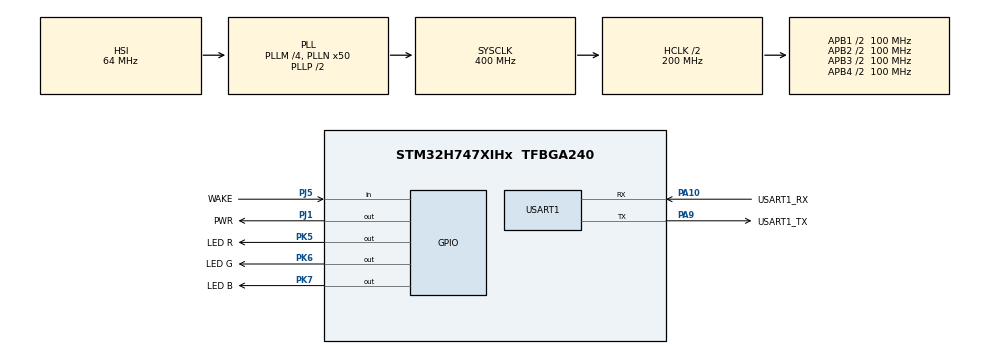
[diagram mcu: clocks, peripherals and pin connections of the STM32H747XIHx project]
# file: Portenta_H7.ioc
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CortexM4.IPs=BDMA,DMA,FATFS_M4\:I,FREERTOS_M4\:I,IWDG2\:I,MDMA,NVIC2\:I,RCC,USB_DEVICE_M4\:I,USB_HOST_M4\:I,WWDG2\:I,ADC1\:I,DCMI\:I,TIM3\:I,DEBUG,PDM2PCM_M4\:I,PWR,RESMGR_UTILITY,SYS_M4\:I,CORTEX_M4\:I,OPENAMP_M4\:I,VREFBUF,GPIO
CortexM7.IPs=BDMA\:I,DMA\:I,FATFS_M7\:I,FREERTOS_M7\:I,IWDG1\:I,MDMA\:I,NVIC1\:I,RCC\:I,USB_DEVICE_M7\:I,USB_HOST_M7\:I,WWDG1\:I,CORTEX_M7\:I,DEBUG\:I,PDM2PCM_M7\:I,PWR\:I,RESMGR_UTILITY\:I,SYS\:I,OPENAMP_M7\:I,VREFBUF\:I,GPIO\:I,RNG\:I,USART1\:I,SDMMC1\:I
CortexM7.Pins=PK5,PK6,PK7,PJ1,PJ5
Mcu.Family=STM32H7
Mcu.Name=STM32H747XIHx
Mcu.Package=TFBGA240
NVIC1.PriorityGroup=NVIC_PRIORITYGROUP_4
NVIC2.PriorityGroup=NVIC_PRIORITYGROUP_4
PA10.GPIO_Label=USART1_RX
PA10.Mode=Asynchronous
PA10.PinAttribute=CortexM7
PA10.Signal=USART1_RX
PA9.GPIO_Label=USART1_TX
PA9.Mode=Asynchronous
PA9.PinAttribute=CortexM7
PA9.Signal=USART1_TX
PC10.GPIO_Label=SDIO_D2
PC10.GPIO_PuPd=GPIO_PULLUP
PC10.PinAttribute=CortexM7
PC10.Signal=SDMMC1_D2
PC11.GPIO_Label=SDIO_D3
PC11.GPIO_PuPd=GPIO_PULLUP
PC11.PinAttribute=CortexM7
PC11.Signal=SDMMC1_D3
PC12.GPIO_Label=SDIO_CLK
PC12.GPIO_PuPd=GPIO_PULLUP
PC12.PinAttribute=CortexM7
PC12.Signal=SDMMC1_CK
PC14-OSC32_IN\ (OSC32_IN).GPIO_Label=OSC32_IN
PC14-OSC32_IN\ (OSC32_IN).Mode=LSE-External-Clock-Source
PC14-OSC32_IN\ (OSC32_IN).PinAttribute=CortexM7
PC14-OSC32_IN\ (OSC32_IN).Signal=RCC_OSC32_IN
PC8.GPIO_Label=SDIO_D0
PC8.GPIO_PuPd=GPIO_PULLUP
PC8.PinAttribute=CortexM7
PC8.Signal=SDMMC1_D0
PC9.GPIO_Label=SDIO_D1
PC9.GPIO_PuPd=GPIO_PULLUP
PC9.PinAttribute=CortexM7
PC9.Signal=SDMMC1_D1
PD2.GPIO_Label=SDIO_MMC
PD2.GPIO_PuPd=GPIO_PULLUP
PD2.PinAttribute=CortexM7
PD2.Signal=SDMMC1_CMD
PH0-OSC_IN\ (PH0).GPIO_Label=OSC25M_IN
PH0-OSC_IN\ (PH0).Mode=HSE-External-Clock-Source
PH0-OSC_IN\ (PH0).PinAttribute=Free
PH0-OSC_IN\ (PH0).Signal=RCC_OSC_IN
PJ1.GPIO_Label=PWR
PJ1.PinAttribute=CortexM7
PJ1.Signal=GPIO_Output
PJ5.GPIO_Label=WAKE
PJ5.PinAttribute=CortexM7
PJ5.Signal=GPIO_Input
PK5.GPIO_Label=LED R
PK5.PinAttribute=CortexM7
PK5.PinState=GPIO_PIN_SET
PK5.Signal=GPIO_Output
PK6.GPIO_Label=LED G
PK6.PinAttribute=CortexM7
PK6.PinState=GPIO_PIN_SET
PK6.Signal=GPIO_Output
PK7.GPIO_Label=LED B
PK7.PinAttribute=CortexM7
PK7.PinState=GPIO_PIN_SET
PK7.Signal=GPIO_Output
ProjectManager.HeapSize=M4-0x200,M7-0x200
ProjectManager.StackSize=M4-0x400,M7-0x400
ProjectManager.TargetToolchain=STM32CubeIDE
RCC.ADCFreq_Value=80000000
RCC.APB1Freq_Value=100000000
RCC.APB2Freq_Value=100000000
RCC.APB3Freq_Value=100000000
RCC.APB4Freq_Value=100000000
RCC.CortexFreq_Value=400000000
RCC.D1PPRE=RCC_APB3_DIV2
RCC.D2PPRE1=RCC_APB1_DIV2
RCC.D2PPRE2=RCC_APB2_DIV2
RCC.D3PPRE=RCC_APB4_DIV2
RCC.DIVM1=4
RCC.DIVM2=4
RCC.DIVN1=50
RCC.DIVN2=10
RCC.DIVQ1=4
RCC.HCLKFreq_Value=200000000
RCC.HPRE=RCC_HCLK_DIV2
RCC.PLL2FRACN=0
RCC.PLLFRACN=0
RCC.PWR_Regulator_Voltage_Scale=PWR_REGULATOR_VOLTAGE_SCALE1
RCC.SYSCLKFreq_VALUE=400000000
RCC.SYSCLKSource=RCC_SYSCLKSOURCE_PLLCLK
RCC.SupplySource=PWR_DIRECT_SMPS_SUPPLY
RCC.USBFreq_Value=200000000
USART1.VirtualMode-Asynchronous=VM_ASYNC
VP_RNG_VS_RNG.Mode=RNG_Activate
VP_SYS_M4_VS_Systick.Mode=SysTick
board=STM32H747I-DISCO

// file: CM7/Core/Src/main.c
/* USER CODE BEGIN Header */
/**
  ******************************************************************************
  * @file           : main.c
  * @brief          : Main program body
  ******************************************************************************
  * @attention
  *
  * Copyright (c) 2024 STMicroelectronics.
  * All rights reserved.
  *
  * This software is licensed under terms that can be found in the LICENSE file
  * in the root directory of this software component.
  * If no LICENSE file comes with this software, it is provided AS-IS.
  *
  ******************************************************************************
  */
/* USER CODE END Header */
#include "main.h"

/* USER CODE BEGIN Includes */
typedef enum {RESOURCE_IN_MEMORY,RESOURCE_IN_EXTERNAL_STORAGE} resource_location_t;
typedef struct {resource_location_t l;unsigned long sz;union{struct {unsigned long o;const char *f;}fs;struct {const char *m;}mem;}val;} resource_hnd_t;
#include "resources/firmware/COMPONENT_4343W_FS/4343WA1_clm_blob.c"
#include "resources/firmware/COMPONENT_4343W_FS/4343WA1_bin.c"
#include "resources/nvram/wifi_nvram_image.h"

#include "mongoose.h"
/* USER CODE END Includes */

/* USER CODE BEGIN PD */

#define WIFI_SSID "YOUR_WIFI_NETWORK_NAME"  // SET THIS!
#define WIFI_PASS "YOUR_WIFI_PASSWORD"      // SET THIS!

#ifndef HSEM_ID_0
#define HSEM_ID_0 (0U) /* HW semaphore 0*/
#endif

/* USER CODE END PD */

RNG_HandleTypeDef hrng;

UART_HandleTypeDef huart1;

void SystemClock_Config(void);
static void MX_GPIO_Init(void);
static void MX_USART1_UART_Init(void);
static void MX_RNG_Init(void);

/* USER CODE BEGIN 0 */
bool mg_random(void *buf, size_t len) {  // Use on-board RNG
  for (size_t n = 0; n < len; n += sizeof(uint32_t)) {
    uint32_t r;
    HAL_RNG_GenerateRandomNumber(&hrng, &r);
    memcpy((char *) buf + n, &r, n + sizeof(r) > len ? len - n : sizeof(r));
  }
  return true; // TODO(): ensure successful RNG init, then return on false above
}

uint64_t mg_millis(void) {
  return HAL_GetTick();
}

int _write(int fd, unsigned char *buf, int len) {
  if (fd == 1 || fd == 2) {                     // stdout or stderr ?
    HAL_UART_Transmit(&huart1, buf, len, 999);  // Print to the UART
  }
  return len;
}

// - 58.4 Table 473
// - 58.5.8 AHB bw >= 3x SDMMC bus bw; Table 492; SD HS => AHB >= ~20MHz
// - SDIO 2.0 section 3.1
static inline void sdmmc_set_ds(void) { // NO FLOW CONTROL ??? REALLY ??? *******************************
  MG_SET_BITS(SDMMC1->CLKCR, (1 << 17) | 0x3ff, (1 << 14) | ((200000000 / (2 * 25000000)) & 0x3ff));  // 4-bit bus, 25MHz
}
static inline void sdmmc_set_hs(void) { // mbed enables flow control... AIROC does not
  MG_SET_BITS(SDMMC1->CLKCR, 0x3ff, (1 << 17) | (1 << 14) | ((200000000 / (2 * 50000000)) & 0x3ff));  // hw flow control, 4-bit bus, 50MHz
}
static inline void sdmmc_init(void) {
  RCC->AHB3RSTR |= MG_BIT(16);  // Reset SDIO block
  RCC->AHB3RSTR &= ~MG_BIT(16);
  RCC->D1CCIPR &= ~MG_BIT(16); // 9.7.18, use PLL1Q
  RCC->AHB3ENR |= MG_BIT(16);  // Enable SDIO clock
  // SDIO pins initialized by Cube; Portenta H7 doesn't pull-up the SDIO bus
  // 1-bit bus, rising edge, clock always on, no flow control, 400KHz
  SDMMC1->CLKCR = (200000000 / (2 * 400000)) & 0x3ff;
  SDMMC1->POWER |= 3 << 0; // SDMMC_POWER_PWRCTRL
  SDMMC1->DCTRL = MG_BIT(10); // Read Wait control by stopping SDMMCCLK
  // wait 74 clocks (~200us) before accessing the "card"
}

static inline bool sdmmc_transact(uint8_t cmd, uint32_t arg, uint32_t *resp) {
  unsigned int wresp = (resp != NULL) ? 1 : 0; // 58.10.4: 2-bit; cmds used
  uint32_t cmdr = MG_BIT(12) | (wresp << 8) | ((cmd & 0x3f) << 0); // CPSMEN
  SDMMC1->ARG = arg;
  MG_SET_BITS(SDMMC1->CMD, 0x00011f3f /* CMDSUSPEND CPSMEN WAITPEND WAITINT WAITRESP CMD */, cmdr);
  if (wresp == 0) {
    while ((SDMMC1->STA & SDMMC_STA_CMDSENT) == 0) (void)0;
    SDMMC1->ICR = 0x002000C5; // BUSYD0END CMDSENT CMDREND CTIMEOUT CCRCFAIL
    return true;
  }
  //while ((SDMMC1->STA & 0x00200045 /*BUSYD0END CMDREND CTIMEOUT CCRCFAIL*/) == 0 || SDMMC1->STA & SDMMC_STA_CPSMACT) spin(1);
  while (SDMMC1->STA & SDMMC_STA_CPSMACT) (void)0;
  bool res = (SDMMC1->STA & 0x00200005 /*BUSYD0END CTIMEOUT CCRCFAIL*/) == 0;
  SDMMC1->ICR = 0x002000C5; // BUSYD0END CMDSENT CMDREND CTIMEOUT CCRCFAIL
  *resp = SDMMC1->RESP1;
  if (!res || SDMMC1->RESPCMD != cmd) return false;
  return true;
}

static inline unsigned int _log2(uint16_t x) {
  unsigned int i = 0;
  while (x != 0) x = ((uint16_t)x) >> 1, ++i;
  return i - 1;
}

static inline bool sdmmc_transfer(bool write, uint32_t arg, uint16_t blksz, uint32_t *data, uint32_t length, uint32_t *resp) {
  uint32_t cmdr = MG_BIT(12) | (1 << 8) | (53 << 0); // CPSMEN WRESP CMD=53
  bool bmode = (blksz != 0);
  uint8_t dblksz = bmode ? (uint8_t)_log2(blksz) : 0;
  uint32_t dctrlr = (dblksz << 4) | (bmode ? (0 << 2) : (1 << 2)) | (write ? 0 : MG_BIT(1)); // DBLOCKSIZE=f(blksz) DTMODE=f(bmode) DTDIR=!write !DTEN
  SDMMC1->DCTRL = SDMMC_DCTRL_RWMOD;
  SDMMC1->IDMACTRL = SDMMC_IDMA_IDMAEN; // single buffer
  SDMMC1->IDMABASE0 = (uint32_t)data;
  SDMMC1->DTIMER = (uint32_t) 50000000; // 58.10.7, set for 1 sec @50MHz (2 secs @25MHz)
  SDMMC1->DLEN = length;  // 58.10.8 call with a multiple of blksz (we do)
  MG_SET_BITS(SDMMC1->DCTRL, 0xff /* DBLOCKSIZE DTMODE DTDIR DTEN */, dctrlr);
  SDMMC1->CMD = SDMMC_CMD_CMDTRANS;  // CPSM will perform a data transfer
  SDMMC1->ARG = arg;
  SDMMC1->CMD |= cmdr; // other flags cleared above
  while ((SDMMC1->STA & 0x0020003f) == 0 && SDMMC1->STA & SDMMC_STA_DPSMACT)
    (void) 0; // incorrect "card" usage will stall here
  bool res = (SDMMC1->STA & 0x0020003f /* BUSYD0END RXOVERR TXUNDERR DTIMEOUT CTIMEOUT DCRCFAIL CCRCFAIL */) == 0;
  SDMMC1->CMD = 0;
  SDMMC1->DLEN = 0;
  SDMMC1->IDMACTRL = 0;
  SDMMC1->ICR = (uint32_t) ~0; // clear all flags
  *resp = SDMMC1->RESP1;
  SDMMC1->DCTRL = SDMMC_DCTRL_RWMOD;
  if (!res || SDMMC1->RESPCMD != 53) return false;
  return true;
}

static void hwspecific_sdio_init(void) {
  HAL_GPIO_WritePin(PWR_GPIO_Port, PWR_Pin, 0);
  mg_delayms(100);
  sdmmc_init();
  mg_delayms(1);
  HAL_GPIO_WritePin(PWR_GPIO_Port, PWR_Pin, 1);
  mg_delayms(50);
}

void hwspecific_sdio_config(void *sdio, uint8_t cfg) {
  (void) sdio;
  if (cfg == 0) return sdmmc_set_ds();
  if (cfg == 1) return sdmmc_set_hs();
}
bool hwspecific_sdio_txn(void *sdio, uint8_t cmd, uint32_t arg, uint32_t *resp) {
  (void) sdio;
  return sdmmc_transact(cmd, arg, resp);
}
bool hwspecific_sdio_xfr(void *sdio, bool write, uint32_t arg, uint16_t blksz, uint32_t *data, uint32_t len, uint32_t *resp){
  (void) sdio;
  return sdmmc_transfer(write, arg, blksz, data, len, resp);
}

static const struct mg_tcpip_sdio sdio = {NULL, hwspecific_sdio_config, hwspecific_sdio_txn, hwspecific_sdio_xfr};

static const struct mg_tcpip_driver_cyw_firmware fw = {
  (const uint8_t *)wifi_firmware_image_data, (size_t)sizeof(wifi_firmware_image_data),
  (const uint8_t *)wifi_nvram_image, (size_t)sizeof(wifi_nvram_image),
  (const uint8_t *)wifi_firmware_clm_blob_image_data, (size_t)sizeof(wifi_firmware_clm_blob_image_data)};

// mif user states
enum {AP, SCANNING, STOPPING_AP, CONNECTING, READY};
static unsigned int state;

static void mif_fn(struct mg_tcpip_if *ifp, int ev, void *ev_data) {
  if (ev == MG_TCPIP_EV_ST_CHG) {
    MG_INFO(("State change: %u", *(uint8_t *) ev_data));
  }
  switch(state) {
    case AP: // we are in AP mode, wait for a user connection to trigger a scan or a connection to a network
      if (ev == MG_TCPIP_EV_ST_CHG && *(uint8_t *) ev_data == MG_TCPIP_STATE_READY) {
        MG_INFO(("Access Point READY !"));

        // simulate user request to scan for networks
        bool res = mg_wifi_scan();
        MG_INFO(("Starting scan: %s", res ? "OK":"FAIL"));
        if (res) state = SCANNING;
      }
      break;
    case SCANNING:
      if (ev == MG_TCPIP_EV_WIFI_SCAN_RESULT) {
        struct mg_wifi_scan_bss_data *bss = (struct mg_wifi_scan_bss_data *) ev_data;
        MG_INFO(("BSS: %.*s (%u) (%M) %d dBm %u", bss->SSID.len, bss->SSID.buf, bss->channel, mg_print_mac, bss->BSSID, (int) bss->RSSI, bss->security));
      } else if (ev == MG_TCPIP_EV_WIFI_SCAN_END) {
        MG_INFO(("Wi-Fi scan finished"));

        // simulate user selection of a network (1/2: stop AP)
        bool res = mg_wifi_ap_stop();
        MG_INFO(("Manually stopping AP: %s", res ? "OK":"FAIL"));
        if (res) state = STOPPING_AP;
        // else we have a hw/fw problem
      }
      break;
    case STOPPING_AP:
      if (ev == MG_TCPIP_EV_ST_CHG && *(uint8_t *) ev_data == MG_TCPIP_STATE_DOWN) {
        struct mg_wifi_data *wifi = &((struct mg_tcpip_driver_cyw_data *) ifp->driver_data)->wifi;
        wifi->apmode = false;

        // simulate user selection of a network (2/2: actual connect)
        bool res = mg_wifi_connect(wifi);
        MG_INFO(("Manually connecting: %s", res ? "OK":"FAIL"));
        if (res) {
          state = CONNECTING;
        } // else manually start AP as below
      }
      break;
    case CONNECTING:
      if (ev == MG_TCPIP_EV_ST_CHG && *(uint8_t *) ev_data == MG_TCPIP_STATE_READY) {
        MG_INFO(("READY!"));
        state = READY;

        // simulate user code disconnection and go back to AP mode (1/2: disconnect)
        bool res = mg_wifi_disconnect();
        MG_INFO(("Manually disconnecting: %s", res ? "OK":"FAIL"));
      } else if (ev == MG_TCPIP_EV_WIFI_CONNECT_ERR) {
        MG_ERROR(("Wi-Fi connect failed"));
        // manually start AP as below
      }
      break;
    case READY:
      // go back to AP mode after a disconnection (simulation 2/2), you could retry
      if (ev == MG_TCPIP_EV_ST_CHG && *(uint8_t *) ev_data == MG_TCPIP_STATE_DOWN) {
        struct mg_wifi_data *wifi = &((struct mg_tcpip_driver_cyw_data *) ifp->driver_data)->wifi;
        bool res = mg_wifi_ap_start(wifi);
        MG_INFO(("Disconnected"));
        MG_INFO(("Manually starting AP: %s", res ? "OK":"FAIL"));
        if (res) {
          state = AP;
          wifi->apmode = true;
        }
      }
      break;
  }
}

static struct mg_tcpip_driver_cyw_data d = {
  {WIFI_SSID, WIFI_PASS, "mongoose", "mongoose", 0, 0, 0, 0, 10, true}, (void *)&sdio, (struct mg_tcpip_driver_cyw_firmware *)&fw, false};

/* USER CODE END 0 */

int main(void)
{

/* USER CODE BEGIN Boot_Mode_Sequence_0 */
//  int32_t timeout;
/* USER CODE END Boot_Mode_Sequence_0 */

/* USER CODE BEGIN Boot_Mode_Sequence_1 */
  /* Wait until CPU2 boots and enters in stop mode or timeout*/
#if 0
	// leave CM4 alone
  timeout = 0xFFFF;
  while((__HAL_RCC_GET_FLAG(RCC_FLAG_D2CKRDY) != RESET) && (timeout-- > 0));
  if ( timeout < 0 )
  {
	Error_Handler();
  }
#endif
/* USER CODE END Boot_Mode_Sequence_1 */
  /* MCU Configuration--------------------------------------------------------*/

  /* Reset of all peripherals, Initializes the Flash interface and the SysTick. */
  HAL_Init();

  /* Configure the system clock */
  SystemClock_Config();
/* USER CODE BEGIN Boot_Mode_Sequence_2 */
#if 0
	// leave CM4 alone
/* When system initialization is finished, Cortex-M7 will release Cortex-M4 by means of
HSEM notification */
/*HW semaphore Clock enable*/
__HAL_RCC_HSEM_CLK_ENABLE();
/*Take HSEM */
HAL_HSEM_FastTake(HSEM_ID_0);
/*Release HSEM in order to notify the CPU2(CM4)*/
HAL_HSEM_Release(HSEM_ID_0,0);
/* wait until CPU2 wakes up from stop mode */
timeout = 0xFFFF;
while((__HAL_RCC_GET_FLAG(RCC_FLAG_D2CKRDY) == RESET) && (timeout-- > 0));
if ( timeout < 0 )
{
Error_Handler();
}
#endif
/* USER CODE END Boot_Mode_Sequence_2 */

  /* Initialize all configured peripherals */
  MX_GPIO_Init();
  MX_USART1_UART_Init();
  MX_RNG_Init();
  /* USER CODE BEGIN 2 */
  hwspecific_sdio_init();

  d.wifi.apip = MG_IPV4(192, 168, 169, 1),
  d.wifi.apmask = MG_IPV4(255, 255, 255, 0),
  state = d.wifi.apmode ? AP : CONNECTING;

  struct mg_mgr mgr;        // Initialise Mongoose event manager
  mg_mgr_init(&mgr);        // and attach it to the interface
  mg_log_set(MG_LL_DEBUG);  // Set log level

  // Initialise Mongoose network stack
  // Either set use_dhcp or enter a static config.
  // For static configuration, specify IP/mask/GW in network byte order
  struct mg_tcpip_if mif = {
      .ip = 0,
      .driver = (struct mg_tcpip_driver *)&mg_tcpip_driver_cyw,
      .driver_data = (struct mg_tcpip_driver_cyw_data*)&d,
      .fn = mif_fn,
//      .recv_queue.size = 8192
  };

  mg_tcpip_init(&mgr, &mif);
  MG_INFO(("Init done, starting main loop"));
  /* USER CODE END 2 */

  /* Infinite loop */
  /* USER CODE BEGIN WHILE */
  while (1)
  {
    mg_mgr_poll(&mgr, 0);
    /* USER CODE END WHILE */

  }
}

void SystemClock_Config(void)
{
  RCC_OscInitTypeDef RCC_OscInitStruct = {0};
  RCC_ClkInitTypeDef RCC_ClkInitStruct = {0};

  /** Supply configuration update enable
  */
  HAL_PWREx_ConfigSupply(PWR_DIRECT_SMPS_SUPPLY);

  /** Configure the main internal regulator output voltage
  */
  __HAL_PWR_VOLTAGESCALING_CONFIG(PWR_REGULATOR_VOLTAGE_SCALE1);

  while(!__HAL_PWR_GET_FLAG(PWR_FLAG_VOSRDY)) {}

  /** Initializes the RCC Oscillators according to the specified parameters
  * in the RCC_OscInitTypeDef structure.
  */
  RCC_OscInitStruct.OscillatorType = RCC_OSCILLATORTYPE_HSI48|RCC_OSCILLATORTYPE_HSI;
  RCC_OscInitStruct.HSIState = RCC_HSI_DIV1;
  RCC_OscInitStruct.HSICalibrationValue = RCC_HSICALIBRATION_DEFAULT;
  RCC_OscInitStruct.HSI48State = RCC_HSI48_ON;
  RCC_OscInitStruct.PLL.PLLState = RCC_PLL_ON;
  RCC_OscInitStruct.PLL.PLLSource = RCC_PLLSOURCE_HSI;
  RCC_OscInitStruct.PLL.PLLM = 4;
  RCC_OscInitStruct.PLL.PLLN = 50;
  RCC_OscInitStruct.PLL.PLLP = 2;
  RCC_OscInitStruct.PLL.PLLQ = 4;
  RCC_OscInitStruct.PLL.PLLR = 2;
  RCC_OscInitStruct.PLL.PLLRGE = RCC_PLL1VCIRANGE_3;
  RCC_OscInitStruct.PLL.PLLVCOSEL = RCC_PLL1VCOWIDE;
  RCC_OscInitStruct.PLL.PLLFRACN = 0;
  if (HAL_RCC_OscConfig(&RCC_OscInitStruct) != HAL_OK)
  {
    Error_Handler();
  }

  /** Initializes the CPU, AHB and APB buses clocks
  */
  RCC_ClkInitStruct.ClockType = RCC_CLOCKTYPE_HCLK|RCC_CLOCKTYPE_SYSCLK
                              |RCC_CLOCKTYPE_PCLK1|RCC_CLOCKTYPE_PCLK2
                              |RCC_CLOCKTYPE_D3PCLK1|RCC_CLOCKTYPE_D1PCLK1;
  RCC_ClkInitStruct.SYSCLKSource = RCC_SYSCLKSOURCE_PLLCLK;
  RCC_ClkInitStruct.SYSCLKDivider = RCC_SYSCLK_DIV1;
  RCC_ClkInitStruct.AHBCLKDivider = RCC_HCLK_DIV2;
  RCC_ClkInitStruct.APB3CLKDivider = RCC_APB3_DIV2;
  RCC_ClkInitStruct.APB1CLKDivider = RCC_APB1_DIV2;
  RCC_ClkInitStruct.APB2CLKDivider = RCC_APB2_DIV2;
  RCC_ClkInitStruct.APB4CLKDivider = RCC_APB4_DIV2;

  if (HAL_RCC_ClockConfig(&RCC_ClkInitStruct, FLASH_LATENCY_2) != HAL_OK)
  {
    Error_Handler();
  }
}

static void MX_RNG_Init(void)
{

  hrng.Instance = RNG;
  hrng.Init.ClockErrorDetection = RNG_CED_ENABLE;
  if (HAL_RNG_Init(&hrng) != HAL_OK)
  {
    Error_Handler();
  }

}

static void MX_USART1_UART_Init(void)
{

  huart1.Instance = USART1;
  huart1.Init.BaudRate = 115200;
  huart1.Init.WordLength = UART_WORDLENGTH_8B;
  huart1.Init.StopBits = UART_STOPBITS_1;
  huart1.Init.Parity = UART_PARITY_NONE;
  huart1.Init.Mode = UART_MODE_TX_RX;
  huart1.Init.HwFlowCtl = UART_HWCONTROL_NONE;
  huart1.Init.OverSampling = UART_OVERSAMPLING_16;
  huart1.Init.OneBitSampling = UART_ONE_BIT_SAMPLE_DISABLE;
  huart1.Init.ClockPrescaler = UART_PRESCALER_DIV1;
  huart1.AdvancedInit.AdvFeatureInit = UART_ADVFEATURE_NO_INIT;
  if (HAL_UART_Init(&huart1) != HAL_OK)
  {
    Error_Handler();
  }
  if (HAL_UARTEx_SetTxFifoThreshold(&huart1, UART_TXFIFO_THRESHOLD_1_8) != HAL_OK)
  {
    Error_Handler();
  }
  if (HAL_UARTEx_SetRxFifoThreshold(&huart1, UART_RXFIFO_THRESHOLD_1_8) != HAL_OK)
  {
    Error_Handler();
  }
  if (HAL_UARTEx_DisableFifoMode(&huart1) != HAL_OK)
  {
    Error_Handler();
  }

}

static void MX_GPIO_Init(void)
{
  GPIO_InitTypeDef GPIO_InitStruct = {0};

  /* GPIO Ports Clock Enable */
  __HAL_RCC_GPIOK_CLK_ENABLE();
  __HAL_RCC_GPIOC_CLK_ENABLE();
  __HAL_RCC_GPIOD_CLK_ENABLE();
  __HAL_RCC_GPIOA_CLK_ENABLE();
  __HAL_RCC_GPIOJ_CLK_ENABLE();

  /*Configure GPIO pin Output Level */
  HAL_GPIO_WritePin(GPIOK, LED_R_Pin|LED_G_Pin|LED_B_Pin, GPIO_PIN_SET);

  /*Configure GPIO pin Output Level */
  HAL_GPIO_WritePin(PWR_GPIO_Port, PWR_Pin, GPIO_PIN_RESET);

  /*Configure GPIO pins : LED_R_Pin LED_G_Pin LED_B_Pin */
  GPIO_InitStruct.Pin = LED_R_Pin|LED_G_Pin|LED_B_Pin;
  GPIO_InitStruct.Mode = GPIO_MODE_OUTPUT_PP;
  GPIO_InitStruct.Pull = GPIO_NOPULL;
  GPIO_InitStruct.Speed = GPIO_SPEED_FREQ_LOW;
  HAL_GPIO_Init(GPIOK, &GPIO_InitStruct);

  /*Configure GPIO pins : PC10 PC11 PC12 PC8
                           PC9 */
  GPIO_InitStruct.Pin = GPIO_PIN_10|GPIO_PIN_11|GPIO_PIN_12|GPIO_PIN_8
                          |GPIO_PIN_9;
  GPIO_InitStruct.Mode = GPIO_MODE_AF_PP;
  GPIO_InitStruct.Pull = GPIO_PULLUP;
  GPIO_InitStruct.Speed = GPIO_SPEED_FREQ_VERY_HIGH;
  GPIO_InitStruct.Alternate = GPIO_AF12_SDIO1;
  HAL_GPIO_Init(GPIOC, &GPIO_InitStruct);

  /*Configure GPIO pin : PD2 */
  GPIO_InitStruct.Pin = GPIO_PIN_2;
  GPIO_InitStruct.Mode = GPIO_MODE_AF_PP;
  GPIO_InitStruct.Pull = GPIO_PULLUP;
  GPIO_InitStruct.Speed = GPIO_SPEED_FREQ_VERY_HIGH;
  GPIO_InitStruct.Alternate = GPIO_AF12_SDIO1;
  HAL_GPIO_Init(GPIOD, &GPIO_InitStruct);

  /*Configure GPIO pin : PWR_Pin */
  GPIO_InitStruct.Pin = PWR_Pin;
  GPIO_InitStruct.Mode = GPIO_MODE_OUTPUT_PP;
  GPIO_InitStruct.Pull = GPIO_NOPULL;
  GPIO_InitStruct.Speed = GPIO_SPEED_FREQ_LOW;
  HAL_GPIO_Init(PWR_GPIO_Port, &GPIO_InitStruct);

  /*Configure GPIO pin : WAKE_Pin */
  GPIO_InitStruct.Pin = WAKE_Pin;
  GPIO_InitStruct.Mode = GPIO_MODE_INPUT;
  GPIO_InitStruct.Pull = GPIO_NOPULL;
  HAL_GPIO_Init(WAKE_GPIO_Port, &GPIO_InitStruct);

}

void Error_Handler(void)
{
  __disable_irq();
  while (1)
  {
  }
}
